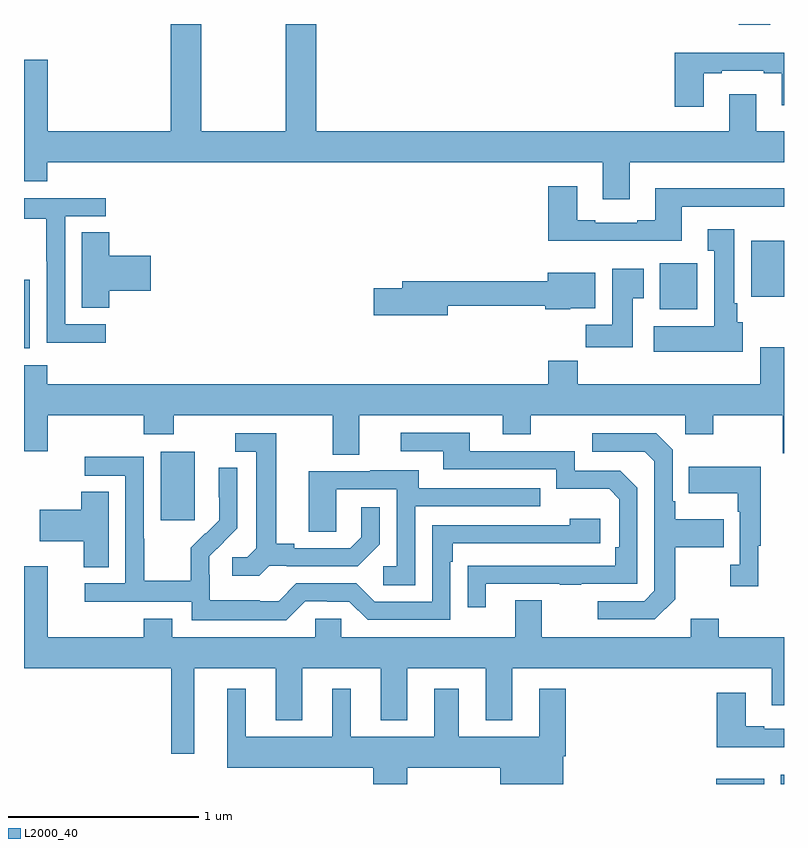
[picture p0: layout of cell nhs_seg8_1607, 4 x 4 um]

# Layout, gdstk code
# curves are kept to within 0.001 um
import gdstk
lib = gdstk.Library(unit=1e-6, precision=1e-09)
def R(c, l, rs):  # rectangles x0, y0, x1, y1
    for r in rs: c.add(gdstk.rectangle(r[:2], r[2:], *l))
def P(c, l, *ps):  # polygons
    for p in ps: c.add(gdstk.Polygon(p, *l))
L2000_40 = (2000, 40)

nhs_seg8_1607 = lib.new_cell('nhs_seg8_1607')
R(nhs_seg8_1607, L2000_40, [(216.644,1107.9,216.895,1107.928), (216.983,1107.9,217,1107.949), (213.719,1109.289,213.898,1109.65), (213,1110.194,213.031,1110.555), (216.347,1110.398,216.544,1110.64), (216.827,1110.464,217,1110.76), (216.761,1111.896,216.928,1111.9)])
P(nhs_seg8_1607, L2000_40, [(216.187,1111.172),(217,1111.172),(217,1111.336),(216.853,1111.336),(216.853,1111.531),(216.713,1111.531),(216.713,1111.336),(214.538,1111.336),(214.538,1111.9),(214.378,1111.9),(214.378,1111.336),(213.933,1111.336),(213.933,1111.9),(213.773,1111.9),(213.773,1111.336),(213.124,1111.336),(213.124,1111.711),(213,1111.711),(213,1111.073),(213.122,1111.073),(213.122,1111.172),(216.047,1111.172),(216.047,1110.978),(216.187,1110.978)],
  [(216.577,1111.641),(216.673,1111.641),(216.673,1111.653),(216.893,1111.653),(216.893,1111.641),(216.989,1111.641),(216.989,1111.472),(217,1111.472),(217,1111.75),(216.425,1111.75),(216.425,1111.464),(216.577,1111.464)],
  [(216.463,1110.939),(217,1110.939),(217,1111.036),(216.323,1111.036),(216.323,1110.868),(216.227,1110.868),(216.227,1110.855),(216.007,1110.855),(216.007,1110.868),(215.911,1110.868),(215.911,1111.045),(215.759,1111.045),(215.759,1110.758),(216.463,1110.758)],
  [(213.43,1110.321),(213.216,1110.321),(213.216,1110.888),(213.43,1110.888),(213.43,1110.984),(213,1110.984),(213,1110.876),(213.118,1110.876),(213.118,1110.652),(213.12,1110.652),(213.12,1110.223),(213.43,1110.223)],
  [(216.784,1110.33),(216.754,1110.33),(216.754,1110.43),(216.739,1110.43),(216.739,1110.82),(216.599,1110.82),(216.599,1110.707),(216.632,1110.707),(216.632,1110.31),(216.315,1110.31),(216.315,1110.176),(216.784,1110.176)],
  [(213.449,1110.497),(213.667,1110.497),(213.667,1110.68),(213.449,1110.68),(213.449,1110.803),(213.305,1110.803),(213.305,1110.406),(213.449,1110.406)],
  [(216.205,1110.457),(216.262,1110.457),(216.262,1110.613),(216.095,1110.613),(216.095,1110.316),(215.956,1110.316),(215.956,1110.198),(216.205,1110.198)],
  [(215.23,1110.417),(215.744,1110.417),(215.744,1110.398),(215.874,1110.398),(215.874,1110.404),(216.007,1110.404),(216.007,1110.592),(215.756,1110.592),(215.756,1110.545),(214.991,1110.545),(214.991,1110.509),(214.842,1110.509),(214.842,1110.367),(215.23,1110.367)],
  [(214.765,1109.84),(215.519,1109.84),(215.519,1109.741),(215.667,1109.741),(215.667,1109.84),(216.48,1109.84),(216.48,1109.741),(216.627,1109.741),(216.627,1109.84),(216.994,1109.84),(216.994,1109.641),(217,1109.641),(217,1110.199),(216.875,1110.199),(216.875,1110.004),(215.915,1110.004),(215.915,1110.128),(215.759,1110.128),(215.759,1110.004),(213.122,1110.004),(213.122,1110.103),(213,1110.103),(213,1109.652),(213.124,1109.652),(213.124,1109.84),(213.629,1109.84),(213.629,1109.741),(213.789,1109.741),(213.789,1109.84),(214.625,1109.84),(214.625,1109.632),(214.765,1109.632)],
  [(215.431,1108.953),(215.821,1108.953),(215.821,1108.948),(215.933,1108.948),(215.933,1108.953),(216.228,1108.953),(216.228,1109.46),(216.138,1109.55),(215.898,1109.55),(215.898,1109.652),(215.347,1109.652),(215.347,1109.748),(214.983,1109.748),(214.983,1109.652),(215.207,1109.652),(215.207,1109.556),(215.802,1109.556),(215.802,1109.453),(216.079,1109.453),(216.132,1109.4),(216.132,1109.146),(216.112,1109.146),(216.112,1109.049),(215.335,1109.048),(215.335,1108.83),(215.431,1108.83)],
  [(214.29,1109.049),(214.384,1109.049),(214.384,1109.046),(214.756,1109.046),(214.872,1109.162),(214.872,1109.356),(214.775,1109.356),(214.775,1109.199),(214.718,1109.142),(214.423,1109.142),(214.423,1109.165),(214.327,1109.165),(214.327,1109.745),(214.113,1109.745),(214.113,1109.649),(214.223,1109.649),(214.223,1109.141),(214.176,1109.094),(214.095,1109.094),(214.095,1108.997),(214.238,1108.997)],
  [(216.427,1108.873),(216.427,1109.146),(216.683,1109.146),(216.683,1109.293),(216.427,1109.293),(216.427,1109.389),(216.414,1109.389),(216.414,1109.658),(216.327,1109.745),(215.991,1109.745),(215.991,1109.649),(216.267,1109.649),(216.318,1109.598),(216.318,1108.917),(216.264,1108.863),(216.021,1108.863),(216.021,1108.767),(216.321,1108.767)],
  [(214.479,1108.863),(214.595,1108.863),(214.595,1108.86),(214.713,1108.86),(214.809,1108.764),(215.244,1108.764),(215.244,1109.069),(215.257,1109.069),(215.257,1109.166),(216.034,1109.166),(216.034,1109.296),(215.873,1109.296),(215.873,1109.262),(215.148,1109.262),(215.148,1108.86),(214.845,1108.86),(214.749,1108.956),(214.434,1108.956),(214.341,1108.863),(214.241,1108.863),(214.241,1108.867),(213.978,1108.867),(213.978,1109.001),(213.976,1109.001),(213.976,1109.098),(214.122,1109.246),(214.122,1109.564),(214.026,1109.564),(214.026,1109.41),(214.028,1109.41),(214.028,1109.288),(213.957,1109.217),(213.954,1109.22),(213.877,1109.143),(213.877,1108.969),(213.633,1108.969),(213.633,1109.192),(213.63,1109.192),(213.63,1109.622),(213.321,1109.622),(213.321,1109.523),(213.534,1109.523),(213.534,1108.956),(213.321,1108.956),(213.321,1108.86),(213.882,1108.86),(213.882,1108.763),(214.379,1108.763)],
  [(216.865,1109.153),(216.877,1109.153),(216.877,1109.569),(216.499,1109.569),(216.499,1109.429),(216.756,1109.429),(216.756,1109.333),(216.768,1109.333),(216.768,1109.054),(216.717,1109.054),(216.717,1108.941),(216.865,1108.941)],
  [(215.058,1109.361),(215.717,1109.361),(215.717,1109.457),(215.077,1109.457),(215.077,1109.551),(214.823,1109.551),(214.823,1109.547),(214.499,1109.547),(214.499,1109.227),(214.644,1109.227),(214.644,1109.451),(214.962,1109.451),(214.962,1109.046),(214.89,1109.046),(214.89,1108.945),(215.058,1108.945)],
  [(213.445,1109.438),(213.302,1109.438),(213.302,1109.343),(213.084,1109.343),(213.084,1109.177),(213.314,1109.177),(213.314,1109.041),(213.445,1109.041)],
  [(213.895,1108.508),(214.325,1108.508),(214.325,1108.235),(214.465,1108.235),(214.465,1108.508),(214.877,1108.508),(214.877,1108.235),(215.017,1108.235),(215.017,1108.508),(215.429,1108.508),(215.429,1108.235),(215.569,1108.235),(215.569,1108.508),(216.935,1108.508),(216.935,1108.314),(217,1108.314),(217,1108.672),(216.657,1108.672),(216.657,1108.771),(216.509,1108.771),(216.509,1108.672),(215.725,1108.672),(215.725,1108.867),(215.585,1108.867),(215.585,1108.672),(214.671,1108.672),(214.671,1108.77),(214.533,1108.77),(214.533,1108.672),(213.781,1108.672),(213.781,1108.771),(213.629,1108.771),(213.629,1108.672),(213.124,1108.672),(213.124,1109.047),(213,1109.047),(213,1108.508),(213.774,1108.508),(213.774,1108.059),(213.895,1108.059)],
  [(215.016,1107.986),(215.507,1107.986),(215.507,1107.9),(215.839,1107.9),(215.839,1108.046),(215.852,1108.046),(215.852,1108.402),(215.711,1108.402),(215.711,1108.15),(215.287,1108.15),(215.287,1108.402),(215.159,1108.402),(215.159,1108.15),(214.72,1108.15),(214.72,1108.402),(214.622,1108.402),(214.622,1108.15),(214.168,1108.15),(214.168,1108.402),(214.07,1108.402),(214.07,1107.986),(214.838,1107.986),(214.838,1107.9),(215.016,1107.9)],
  [(217,1108.191),(216.895,1108.191),(216.895,1108.204),(216.799,1108.204),(216.799,1108.381),(216.647,1108.381),(216.647,1108.094),(217,1108.094)])

lib.write_gds('nhs_seg8_1607.gds')
